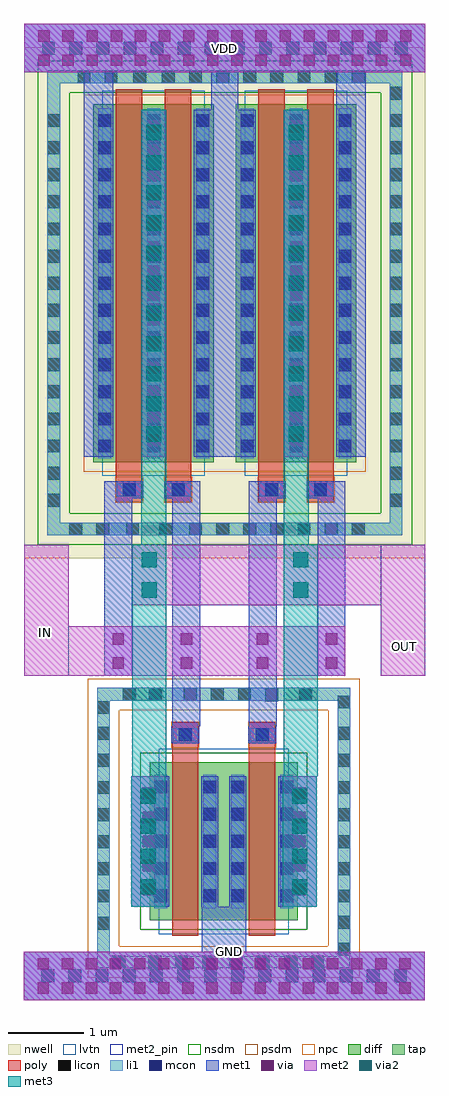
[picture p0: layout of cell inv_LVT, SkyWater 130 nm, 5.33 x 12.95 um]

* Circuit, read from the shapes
.subckt inv_LVT GND IN OUT VDD
XM1 GND IN OUT GND sky130_fd_pr__nfet_01v8_lvt w=2.1 l=0.35 m=2
XM2 OUT IN VDD VDD sky130_fd_pr__pfet_01v8_lvt w=4.75 l=0.35 m=4
.ends

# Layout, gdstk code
from math import pi, radians
import gdstk
lib = gdstk.Library(unit=1e-6, precision=1e-09)
def R(c, l, rs):  # rectangles x0, y0, x1, y1
    for r in rs: c.add(gdstk.rectangle(r[:2], r[2:], *l))
def A(c, l, x, y, w, h, nx, ny, dx, dy):  # array of equal rectangles
    R(c, l, [(x+i*dx, y+j*dy, x+i*dx+w, y+j*dy+h) for i in range(nx) for j in range(ny)])
nwell = (64, 20)
diff = (65, 20)
tap = (65, 44)
poly = (66, 20)
licon = (66, 44)
li1 = (67, 20)
mcon = (67, 44)
met1 = (68, 20)
via = (68, 44)
met2_pin = (69, 16)
met2 = (69, 20)
via2 = (69, 44)
met3 = (70, 20)
nsdm = (93, 44)
psdm = (94, 20)
npc = (95, 20)
lvtn = (125, 44)

vias_gen_2 = lib.new_cell('vias_gen$2')
R(vias_gen_2, met2, [(0,0,0.45,0.8)])
R(vias_gen_2, via2, [(0.125,0.1,0.325,0.3), (0.125,0.5,0.325,0.7)])
R(vias_gen_2, met3, [(0,0,0.45,0.8)])

vias_gen_10 = lib.new_cell('vias_gen$10')
R(vias_gen_10, met1, [(0,0,4.61,0.33)])
A(vias_gen_10, via, 0.15, 0.09, 0.15, 0.15, 14, 1, 0.32, 0)
R(vias_gen_10, met2, [(0,0,4.61,0.33)])
A(vias_gen_10, via2, 0.205, 0.065, 0.2, 0.2, 11, 1, 0.4, 0)
R(vias_gen_10, met3, [(0,0,4.61,0.33)])

pfet_2 = lib.new_cell('pfet$2')
R(pfet_2, nwell, [(-0.305,-0.72,1.255,5.13)])
R(pfet_2, diff, [(0,0,0.95,4.75)])
R(pfet_2, poly, [(0.3,-0.53,0.65,-0.2), (0.3,-0.2,0.65,4.95)])
A(pfet_2, licon, 0.065, 0.13, 0.17, 0.17, 1, 13, 0, 0.36)
A(pfet_2, licon, 0.715, 0.13, 0.17, 0.17, 1, 13, 0, 0.36)
R(pfet_2, licon, [(0.39,-0.45,0.56,-0.28)])
R(pfet_2, li1, [(0.31,-0.45,0.64,-0.28), (0.065,0.05,0.235,4.7), (0.715,0.05,0.885,4.7)])
A(pfet_2, mcon, 0.065, 0.13, 0.17, 0.17, 1, 13, 0, 0.36)
A(pfet_2, mcon, 0.715, 0.13, 0.17, 0.17, 1, 13, 0, 0.36)
R(pfet_2, mcon, [(0.39,-0.45,0.56,-0.28)])
R(pfet_2, met1, [(0.29,-0.48,0.66,-0.25), (0.035,0.07,0.265,4.68), (0.685,0.07,0.915,4.68)])
R(pfet_2, psdm, [(-0.125,-0.125,1.075,4.875)])
R(pfet_2, npc, [(0.29,-0.54,0.66,-0.19)])
R(pfet_2, lvtn, [(0.12,-0.18,0.83,4.93)])

vias_gen_6 = lib.new_cell('vias_gen$6')
R(vias_gen_6, met1, [(0,0,0.37,0.66)])
R(vias_gen_6, via, [(0.11,0.095,0.26,0.245), (0.11,0.415,0.26,0.565)])
R(vias_gen_6, met2, [(0,0,0.37,0.66)])

vias_gen = lib.new_cell('vias_gen')
R(vias_gen, li1, [(0,0,5.32,0.64)])
A(vias_gen, mcon, 0.235, 0.235, 0.17, 0.17, 14, 1, 0.36, 0)
R(vias_gen, met1, [(0,0,5.32,0.64)])
A(vias_gen, via, 0.185, 0.085, 0.15, 0.15, 16, 2, 0.32, 0.32)
R(vias_gen, met2, [(0,0,5.32,0.64)])

nfet_2 = lib.new_cell('nfet$2')
R(nfet_2, diff, [(0,0,0.95,2.1)])
R(nfet_2, poly, [(0.3,-0.2,0.65,2.3), (0.3,2.3,0.65,2.63)])
A(nfet_2, licon, 0.065, 0.245, 0.17, 0.17, 1, 5, 0, 0.36)
A(nfet_2, licon, 0.715, 0.245, 0.17, 0.17, 1, 5, 0, 0.36)
R(nfet_2, licon, [(0.39,2.38,0.56,2.55)])
R(nfet_2, li1, [(0.065,0.165,0.235,1.935), (0.715,0.165,0.885,1.935), (0.31,2.38,0.64,2.55)])
A(nfet_2, mcon, 0.065, 0.245, 0.17, 0.17, 1, 5, 0, 0.36)
A(nfet_2, mcon, 0.715, 0.245, 0.17, 0.17, 1, 5, 0, 0.36)
R(nfet_2, mcon, [(0.39,2.38,0.56,2.55)])
R(nfet_2, met1, [(0.035,0.185,0.265,1.915), (0.685,0.185,0.915,1.915), (0.29,2.35,0.66,2.58)])
R(nfet_2, nsdm, [(-0.125,-0.125,1.075,2.225)])
R(nfet_2, npc, [(0.29,2.29,0.66,2.64)])
R(nfet_2, lvtn, [(0.12,-0.18,0.83,2.28)])

vias_gen_7 = lib.new_cell('vias_gen$7')
R(vias_gen_7, met1, [(0,0,1.73,0.45)])
A(vias_gen_7, via, 0.15, 0.15, 0.15, 0.15, 5, 1, 0.32, 0)
R(vias_gen_7, met2, [(0,0,1.73,0.45)])
A(vias_gen_7, via2, 0.165, 0.125, 0.2, 0.2, 4, 1, 0.4, 0)
R(vias_gen_7, met3, [(0,0,1.73,0.45)])

inv_lvt = lib.new_cell('inv_LVT')
R(inv_lvt, nwell, [(-7.835,1.22,-2.515,8)])
R(inv_lvt, diff, [(-5.225,-3.585,-5.155,-1.485), (-6.115,2.495,-5.96,7.245)])
R(inv_lvt, tap, [(-6.87,-4.22,-6.7,-0.5), (-6.7,-4.22,-3.68,-4.05), (-3.68,-4.22,-3.51,-0.5), (-6.7,-0.67,-3.68,-0.5), (-7.53,1.525,-2.99,1.695), (-7.53,1.525,-7.36,7.525), (-7.36,1.525,-3.47,1.695), (-2.99,1.525,-2.82,7.525), (-7.53,7.525,-2.82,7.695)])
A(inv_lvt, licon, -5.835, -4.22, 0.17, 0.17, 3, 1, 0.36, 0)
A(inv_lvt, licon, -6.87, -3.705, 0.17, 0.17, 1, 8, 0, 0.36)
A(inv_lvt, licon, -3.68, -3.345, 0.17, 0.17, 1, 7, 0, 0.36)
A(inv_lvt, licon, -5.72, -0.67, 0.17, 0.17, 3, 1, 0.36, 0)
A(inv_lvt, licon, -5.65, 1.525, 0.17, 0.17, 7, 2, 0.36, 6)
A(inv_lvt, licon, -7.53, 1.905, 0.17, 0.17, 1, 15, 0, 0.36)
A(inv_lvt, licon, -2.99, 1.905, 0.17, 0.17, 1, 16, 0, 0.36)
A(inv_lvt, licon, -6.77, 7.525, 0.17, 0.17, 3, 1, 0.38, 0)
R(inv_lvt, licon, [(-4.755,-4.225,-4.585,-4.055), (-6.67,-4.22,-6.5,-4.05), (-6.19,-4.22,-6.02,-4.05), (-4.385,-4.22,-4.215,-4.05), (-4.03,-4.22,-3.86,-4.05), (-3.68,-4.05,-3.51,-3.88), (-3.68,-3.695,-3.51,-3.525), (-6.87,-0.845,-6.7,-0.675), (-3.68,-0.77,-3.51,-0.6), (-4.64,-0.675,-4.47,-0.505), (-6.53,-0.67,-6.36,-0.5), (-6.185,-0.67,-6.015,-0.5), (-4.19,-0.67,-4.02,-0.5), (-7.24,1.525,-7.07,1.695), (-6.88,1.525,-6.71,1.695), (-6.485,1.525,-6.315,1.695), (-6.485,1.525,-6.315,1.695), (-6.045,1.525,-5.875,1.695), (-7.13,7.525,-6.96,7.695)])
R(inv_lvt, li1, [(-6.87,-4.22,-6.7,-0.5), (-6.7,-4.22,-3.68,-4.05), (-3.68,-4.22,-3.51,-0.5), (-6.335,-4.17,-3.885,-4), (-6.7,-0.67,-3.68,-0.5), (-7.53,1.525,-2.99,1.695), (-7.53,1.525,-7.36,7.525), (-2.99,1.525,-2.82,7.525), (-7.53,7.525,-2.82,7.695)])
R(inv_lvt, met1, [(-5.48,-4.005,-4.89,-3.4), (-5.87,-1.005,-5.5,-0.34), (-4.86,-1.005,-4.49,-0.34), (-6.775,0.32,-6.405,2.245), (-5.87,0.32,-5.5,2.245), (-4.86,0.32,-4.49,2.24), (-3.945,0.32,-3.575,2.24), (-7.045,2.565,-6.655,7.67), (-5.355,2.565,-4.995,7.675), (-3.695,2.565,-3.305,7.67)])
R(inv_lvt, met2_pin, [(-7.845,-4.64,-2.525,-4), (-7.835,-0.34,-7.245,1.4), (-3.105,-0.34,-2.515,1.4), (-7.835,7.67,-2.515,8.31)])
R(inv_lvt, met2, [(-7.845,-4.64,-2.525,-4), (-7.835,-0.34,-3.575,0.32), (-3.105,-0.34,-2.515,0.65), (-7.835,0.32,-7.245,1.4), (-6.405,0.6,-2.515,1.4), (-7.835,7.67,-2.515,8.31)])
R(inv_lvt, met3, [(-6.405,-1.67,-5.955,0.65), (-4.395,-1.67,-3.945,0.65), (-6.285,1.4,-5.955,2.565), (-4.395,1.4,-4.065,2.565)])
R(inv_lvt, nsdm, [(-7.655,1.4,-2.69,1.82), (-7.255,1.4,-2.69,1.82), (-7.255,1.4,-2.69,1.82), (-7.255,1.4,-2.69,1.82), (-7.655,1.82,-7.235,7.4), (-3.11,1.82,-2.69,7.4), (-3.11,1.82,-2.69,7.4), (-7.655,7.4,-2.69,7.82)])
R(inv_lvt, psdm, [(-6.995,-4.345,-6.575,-0.375), (-6.575,-4.345,-3.805,-3.925), (-3.805,-4.345,-3.385,-0.375), (-6.575,-0.795,-3.805,-0.375), (-5.195,2.37,-5.155,7.37)])
R(inv_lvt, lvtn, [(-5.345,-3.765,-5.035,-1.305)])
inv_lvt.add(gdstk.Reference(vias_gen_2, (-4.395,0.6)))
inv_lvt.add(gdstk.Reference(vias_gen_10, (-4.065,2.565), rotation=pi/2))
inv_lvt.add(gdstk.Reference(pfet_2, (-6.92,2.495)))
inv_lvt.add(gdstk.Reference(vias_gen_10, (-5.955,2.565), rotation=pi/2))
inv_lvt.add(gdstk.Reference(vias_gen_2, (-6.405,0.6)))
inv_lvt.add(gdstk.Reference(pfet_2, (-4.38,2.495)))
inv_lvt.add(gdstk.Reference(vias_gen_6, (-4.86,-0.34)))
inv_lvt.add(gdstk.Reference(pfet_2, (-6.27,2.495)))
inv_lvt.add(gdstk.Reference(vias_gen, (-7.845,-4.64)))
inv_lvt.add(gdstk.Reference(vias_gen_6, (-5.87,-0.34)))
inv_lvt.add(gdstk.Reference(vias_gen_6, (-3.945,-0.34)))
inv_lvt.add(gdstk.Reference(vias_gen_6, (-6.775,-0.34)))
inv_lvt.add(gdstk.Reference(pfet_2, (-5.03,2.495)))
inv_lvt.add(gdstk.Reference(vias_gen, (-7.835,7.67)))
inv_lvt.add(gdstk.Reference(nfet_2, (-5.225,-3.585), rotation=pi, x_reflection=True))
inv_lvt.add(gdstk.Reference(nfet_2, (-4.205,-3.585), rotation=pi, x_reflection=True))
inv_lvt.add(gdstk.Reference(vias_gen_7, (-3.955,-3.4), rotation=pi/2))
inv_lvt.add(gdstk.Reference(vias_gen_7, (-5.965,-3.4), rotation=pi/2))
inv_lvt.add(gdstk.Label('GND', (-5.11,-4), layer=69, texttype=5))
inv_lvt.add(gdstk.Label('VDD', (-5.175,7.985), layer=69, texttype=5))
inv_lvt.add(gdstk.Label('IN', (-7.55,0.23), layer=69, texttype=5))
inv_lvt.add(gdstk.Label('OUT', (-2.795,0.045), layer=69, texttype=5))

lib.write_gds('inv_LVT.gds')
